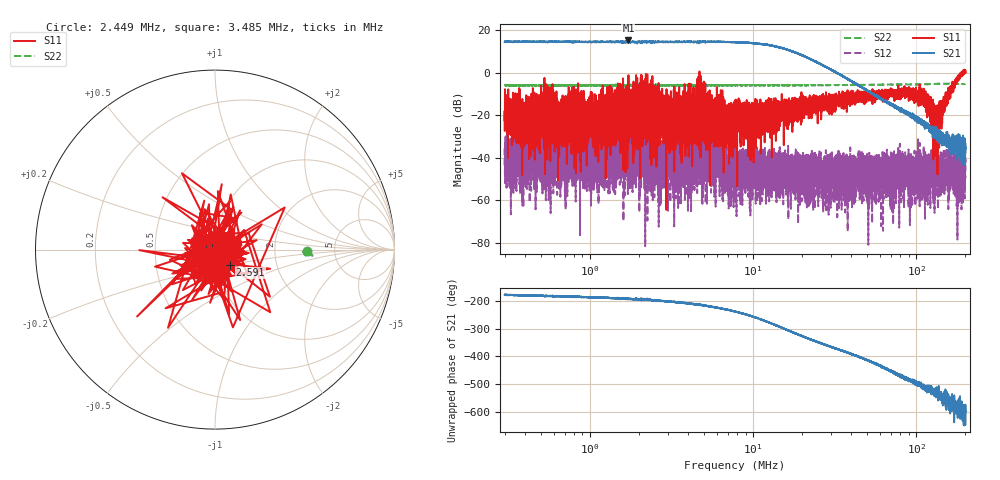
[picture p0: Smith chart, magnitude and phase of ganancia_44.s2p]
# Hz S DB R 50
! CMT, M5065, 19127446, 24.2.4/2
! Date: 11/1/2024 4:41:24 PM
! Data: Format (Calibration Info)
! Freq	S11:dB/Ang(F2)	S21:dB/Ang(F2)	S12:dB/Ang(F2)	S22:dB/Ang(F2)
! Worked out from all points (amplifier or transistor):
!   9000 points, 300 kHz to 200 MHz, reference 50 ohm
!   highest |S21| = 15.2 dB at 1.723 MHz (marker M1)
!   |S21| within 3 dB of that: start of sweep to 13.87 MHz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
!   unconditionally stable (mu >= 1): start of sweep to 1.828 MHz; 2.536 MHz to 4.691 MHz; 4.948 MHz to 189.8 MHz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
!   at 886.8 kHz: K = 5.78, MAG = 16.5 dB, |S12| = -39.8 dB
!   at 7.749 MHz: K = 24.37, MAG = 15.7 dB, |S12| = -50.8 dB
!   at 200 MHz: K = -3.60, MSG = 3.4 dB, |S12| = -42.5 dB
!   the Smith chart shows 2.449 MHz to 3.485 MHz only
!   S11 on the Smith chart (normalised r, x): 2.449 MHz: 0.83, -0.03; 2.591 MHz: 1.17, -0.20; 3.485 MHz: 1.28, +0.10
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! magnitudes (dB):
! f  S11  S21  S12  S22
! 300 kHz  -22.3  14.5  -43.5  -5.9
! 340.7 kHz  -15.4  14.7  -35.0  -5.9
! 397.7 kHz  -34.2  14.5  -43.9  -5.8
! 443.8 kHz  -24.6  14.6  -41.8  -5.8
! 606.8 kHz  -24.9  14.6  -45.0  -5.8
! 647.6 kHz  -39.5  14.6  -37.4  -5.8
! 886.8 kHz  -8.5  14.5  -39.8  -5.9
! 1.723 MHz  -1.1  15.2  -38.7  -5.9
! 1.837 MHz  -19.5  14.5  -29.9  -5.6
! 2.449 MHz  -20.4  14.5  -48.3  -5.8
! 2.591 MHz  -18.4  14.5  -41.9  -5.9
! 2.621 MHz  -22.5  14.6  -37.5  -5.9
! 3.485 MHz  -17.8  14.4  -38.0  -5.8
! 4.7 MHz  -36.0  14.5  -37.8  -5.8
! 7.749 MHz  -18.6  14.4  -50.8  -5.9
! 13.64 MHz  -13.1  12.6  -49.0  -5.9
! 22.91 MHz  -20.5  6.1  -36.7  -5.8
! 67.71 MHz  -11.6  -14.0  -58.1  -5.6
! 107.1 MHz  -8.4  -22.9  -46.2  -5.4
! 134.1 MHz  -32.3  -27.7  -39.1  -5.2
! 161.7 MHz  -11.8  -33.5  -49.0  -5.2
! 200 MHz  0.0  -35.8  -42.5  -5.3
